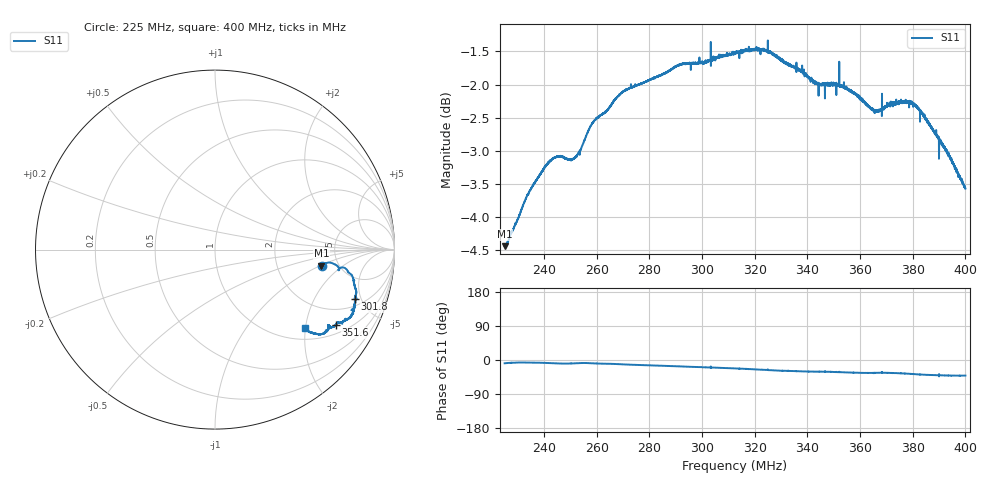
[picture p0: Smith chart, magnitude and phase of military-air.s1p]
! Calibrated averaged scanner-service zoom
# Hz S RI R 50
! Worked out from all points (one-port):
!   10001 points, 225 MHz to 400 MHz, reference 50 ohm
!   lowest |S11| = -4.4 dB at 225 MHz (marker M1), VSWR 4.00, Z = 184 - j51.9 ohm
!   |S11| at or under -10 dB: nowhere
!   S11 on the Smith chart (normalised r, x): 225 MHz: 3.69, -1.04; 301.8 MHz: 2.54, -4.42; 351.6 MHz: 1.31, -2.96; 400 MHz: 1.27, -1.98
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2.25e8  0.5934 -0.0906
2.25035e8  0.5933 -0.09
2.27625e8  0.6092 -0.0788
2.323675e8  0.6429 -0.073
2.40925e8  0.6848 -0.0942
2.46875e8  0.6917 -0.1145
2.5139e8  0.6904 -0.1073
2.5552e8  0.7157 -0.0998
2.586525e8  0.7354 -0.1132
2.6875e8  0.7663 -0.1503
2.90625e8  0.7868 -0.2328
3.018075e8  0.7793 -0.2756
3.125e8  0.7768 -0.317
3.202e8  0.7671 -0.353
3.2622e8  0.7479 -0.3817
3.34375e8  0.7161 -0.3993
3.427925e8  0.6855 -0.4081
3.466425e8  0.6818 -0.3964
3.516125e8  0.6728 -0.4202
3.5625e8  0.6577 -0.4285
3.6381e8  0.6321 -0.427
3.6843e8  0.6343 -0.4217
3.72525e8  0.6326 -0.4345
3.78125e8  0.622 -0.4548
3.822025e8  0.5999 -0.4699
3.85895e8  0.5747 -0.4721
3.935775e8  0.5326 -0.4609
4e8  0.4993 -0.4367
